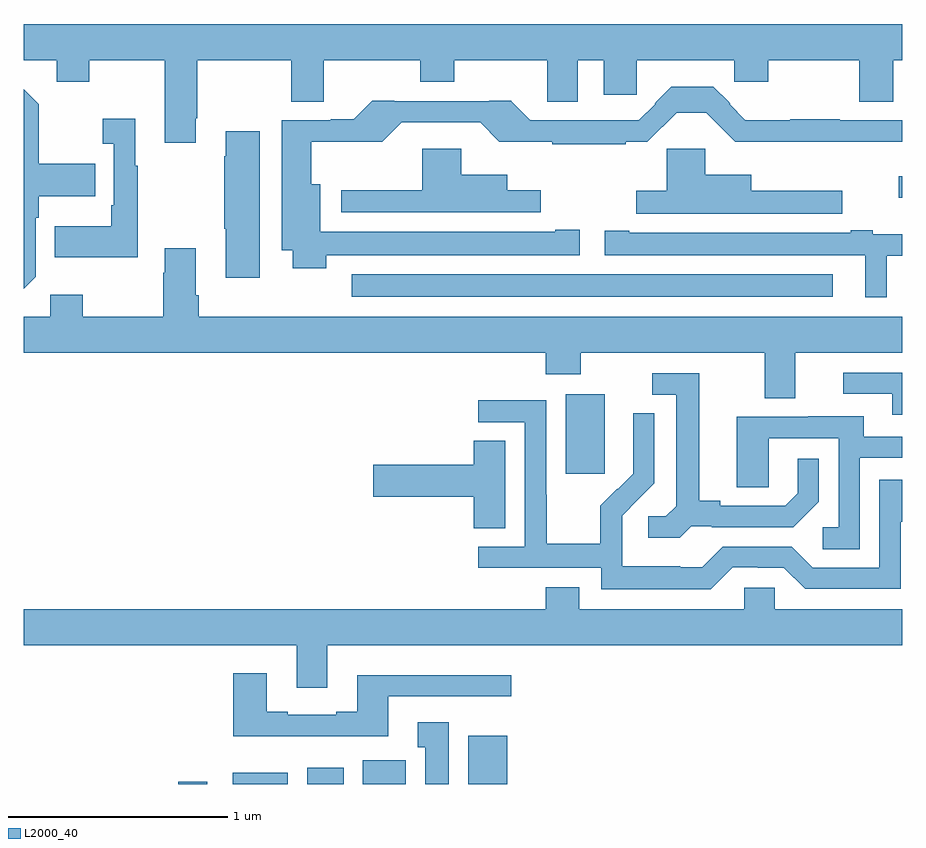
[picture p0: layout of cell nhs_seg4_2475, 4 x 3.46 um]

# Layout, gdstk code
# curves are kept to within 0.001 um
import gdstk
lib = gdstk.Library(unit=1e-6, precision=1e-09)
def R(c, l, rs):  # rectangles x0, y0, x1, y1
    for r in rs: c.add(gdstk.rectangle(r[:2], r[2:], *l))
def P(c, l, *ps):  # polygons
    for p in ps: c.add(gdstk.Polygon(p, *l))
L2000_40 = (2000, 40)

nhs_seg4_2475 = lib.new_cell('nhs_seg4_2475')
R(nhs_seg4_2475, L2000_40, [(241.704,750.9,241.836,750.911), (241.952,750.9,242.203,750.952), (242.291,750.9,242.458,750.973), (242.543,750.9,242.739,751.009), (243.023,750.9,243.202,751.12), (243.467,752.313,243.646,752.674), (242.493,753.119,244.684,753.22), (244.983,753.569,245,753.667)])
P(nhs_seg4_2475, L2000_40, [(241.783,753.931),(241.791,753.931),(241.791,754.196),(242.218,754.196),(242.218,754.006),(242.365,754.006),(242.365,754.196),(242.806,754.196),(242.806,754.097),(242.961,754.097),(242.961,754.196),(243.383,754.196),(243.383,754.006),(243.523,754.006),(243.523,754.196),(243.641,754.196),(243.641,754.038),(243.792,754.038),(243.792,754.196),(244.235,754.196),(244.235,754.098),(244.389,754.098),(244.389,754.196),(244.804,754.196),(244.804,754.006),(244.959,754.006),(244.959,754.196),(245,754.196),(245,754.36),(241,754.36),(241,754.196),(241.151,754.196),(241.151,754.097),(241.299,754.097),(241.299,754.196),(241.643,754.196),(241.643,753.819),(241.783,753.819)],
  [(242.378,753.308),(243.532,753.308),(243.532,753.423),(243.419,753.423),(243.419,753.415),(242.35,753.415),(242.35,753.631),(242.309,753.631),(242.309,753.823),(242.633,753.823),(242.722,753.912),(243.078,753.912),(243.166,753.824),(243.406,753.823),(243.406,753.813),(243.74,753.813),(243.74,753.823),(243.838,753.823),(243.972,753.957),(244.107,753.957),(244.24,753.824),(245,753.824),(245,753.921),(244.715,753.921),(244.715,753.926),(244.49,753.926),(244.49,753.922),(244.286,753.922),(244.214,753.995),(244.216,753.997),(244.209,754.005),(244.139,754.075),(243.949,754.075),(243.879,754.005),(243.872,753.997),(243.875,753.995),(243.801,753.921),(243.307,753.921),(243.219,754.01),(243.119,754.01),(243.119,754.008),(242.686,754.008),(242.686,754.01),(242.586,754.01),(242.503,753.926),(242.399,753.926),(242.399,753.921),(242.174,753.921),(242.174,753.329),(242.225,753.329),(242.225,753.248),(242.378,753.248)],
  [(241.056,753.21),(241.056,753.479),(241.069,753.479),(241.069,753.575),(241.325,753.575),(241.325,753.723),(241.069,753.723),(241.069,753.995),(241,754.064),(241,753.154)],
  [(241.519,753.715),(241.507,753.715),(241.507,753.928),(241.359,753.928),(241.359,753.815),(241.41,753.815),(241.41,753.535),(241.398,753.535),(241.398,753.439),(241.141,753.439),(241.141,753.299),(241.519,753.299)],
  [(242.074,753.871),(241.919,753.871),(241.919,753.758),(241.912,753.758),(241.912,753.427),(241.919,753.427),(241.919,753.204),(242.074,753.204)],
  [(244.726,753.601),(244.312,753.601),(244.312,753.673),(244.103,753.673),(244.103,753.793),(243.928,753.793),(243.928,753.601),(243.789,753.601),(243.789,753.497),(244.726,753.497)],
  [(243.355,753.603),(243.202,753.603),(243.202,753.673),(242.993,753.673),(242.993,753.793),(242.815,753.793),(242.815,753.603),(242.445,753.603),(242.445,753.504),(243.355,753.504)],
  [(244.93,753.306),(245,753.306),(245,753.403),(244.866,753.403),(244.866,753.422),(244.766,753.422),(244.766,753.409),(243.757,753.409),(243.757,753.419),(243.645,753.419),(243.645,753.308),(244.832,753.308),(244.832,753.117),(244.93,753.117)],
  [(244.513,752.864),(245,752.864),(245,753.028),(241.796,753.028),(241.796,753.124),(241.783,753.124),(241.783,753.34),(241.643,753.34),(241.643,753.227),(241.636,753.227),(241.636,753.028),(241.269,753.028),(241.269,753.127),(241.122,753.127),(241.122,753.028),(241,753.028),(241,752.864),(243.377,752.864),(243.377,752.765),(243.537,752.765),(243.537,752.864),(244.373,752.864),(244.373,752.656),(244.513,752.656)],
  [(245,752.772),(244.731,752.772),(244.731,752.676),(244.955,752.676),(244.955,752.58),(245,752.58)],
  [(244.038,752.073),(244.132,752.073),(244.132,752.07),(244.504,752.07),(244.62,752.186),(244.62,752.38),(244.523,752.38),(244.523,752.223),(244.466,752.166),(244.171,752.166),(244.171,752.189),(244.075,752.189),(244.075,752.769),(243.861,752.769),(243.861,752.673),(243.971,752.673),(243.971,752.165),(243.924,752.118),(243.843,752.118),(243.843,752.021),(243.986,752.021)],
  [(244.227,751.887),(244.343,751.887),(244.343,751.884),(244.461,751.884),(244.557,751.788),(244.992,751.788),(244.992,752.093),(245,752.093),(245,752.286),(244.896,752.286),(244.896,751.884),(244.593,751.884),(244.497,751.98),(244.182,751.98),(244.089,751.887),(243.989,751.887),(243.989,751.891),(243.726,751.891),(243.726,752.025),(243.724,752.025),(243.724,752.122),(243.87,752.27),(243.87,752.588),(243.774,752.588),(243.774,752.434),(243.776,752.434),(243.776,752.312),(243.705,752.241),(243.702,752.244),(243.625,752.167),(243.625,751.993),(243.381,751.993),(243.381,752.216),(243.378,752.216),(243.378,752.646),(243.069,752.646),(243.069,752.547),(243.282,752.547),(243.282,751.98),(243.069,751.98),(243.069,751.884),(243.63,751.884),(243.63,751.787),(244.127,751.787)],
  [(244.806,752.385),(245,752.385),(245,752.481),(244.825,752.481),(244.825,752.575),(244.571,752.575),(244.571,752.571),(244.247,752.571),(244.247,752.251),(244.392,752.251),(244.392,752.475),(244.71,752.475),(244.71,752.07),(244.638,752.07),(244.638,751.969),(244.806,751.969)],
  [(243.193,752.462),(243.05,752.462),(243.05,752.354),(242.592,752.354),(242.592,752.207),(243.05,752.207),(243.05,752.065),(243.193,752.065)],
  [(242.383,751.532),(245,751.532),(245,751.696),(244.419,751.696),(244.419,751.794),(244.281,751.794),(244.281,751.696),(243.529,751.696),(243.529,751.795),(243.377,751.795),(243.377,751.696),(241,751.696),(241,751.532),(242.243,751.532),(242.243,751.338),(242.383,751.338)],
  [(242.659,751.299),(243.22,751.299),(243.22,751.396),(242.519,751.396),(242.519,751.228),(242.423,751.228),(242.423,751.215),(242.203,751.215),(242.203,751.228),(242.107,751.228),(242.107,751.405),(241.955,751.405),(241.955,751.118),(242.659,751.118)],
  [(242.935,751.18),(242.795,751.18),(242.795,751.067),(242.828,751.067),(242.828,750.9),(242.935,750.9)])

lib.write_gds('nhs_seg4_2475.gds')
